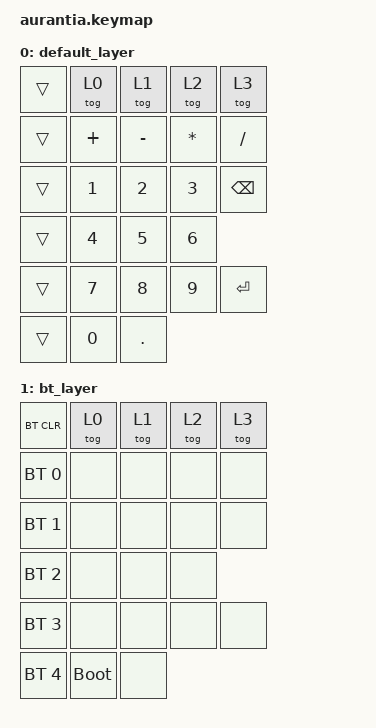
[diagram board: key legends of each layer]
#include <behaviors.dtsi>
#include <dt-bindings/zmk/keys.h>
#include <dt-bindings/zmk/bt.h>

/ {

    keymap {
        compatible = "zmk,keymap";

        default_layer{
            bindings = <
                &trans &tog 0 &tog 1 &tog 2 &tog 3
                &trans &kp PLUS &kp MINUS &kp STAR &kp SLASH
                &trans &kp N1 &kp N2 &kp N3 &kp BACKSPACE
                &trans &kp N4 &kp N5 &kp N6
                &trans &kp N7 &kp N8 &kp N9 &kp ENTER
                &trans &kp N0 &kp DOT
            >;
        };

        bt_layer {
            bindings = <
                &bt BT_CLR &tog 0 &tog 1 &tog 2 &tog 3
                &bt BT_SEL 0 &none &none &none &none 
                &bt BT_SEL 1 &none &none &none &none 
                &bt BT_SEL 2 &none &none &none 
                &bt BT_SEL 3 &none &none &none &none 
                &bt BT_SEL 4 &bootloader &none 
            >;
        };
    };
};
